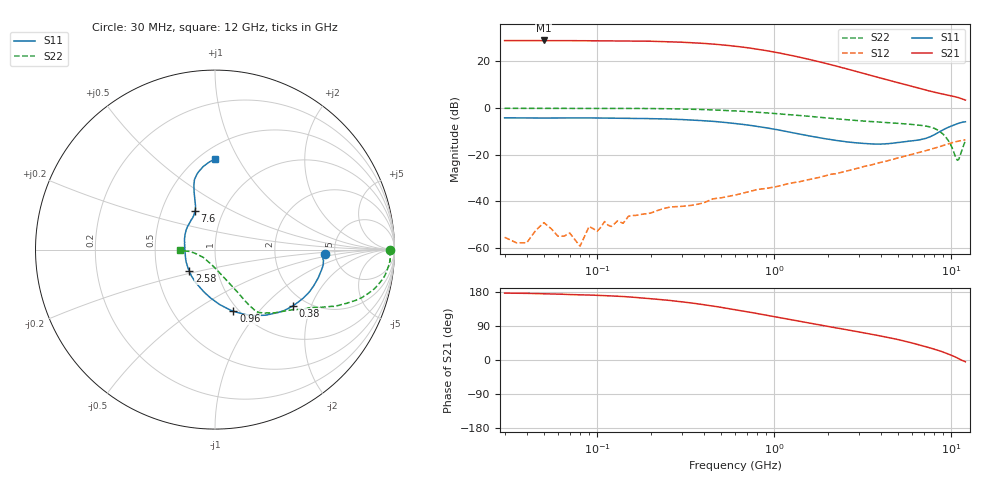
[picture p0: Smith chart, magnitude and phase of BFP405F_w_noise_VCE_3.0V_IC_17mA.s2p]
! Infineon Technologies  Discrete & RF Semiconductors
! BFP405F
! VCE =  3.0 V,  IC =  17 mA
! Common Emitter S-Parameters:  Nov 2015
# GHz  S  MA  R  50
!  f  S11  S21  S12  S22
! GHz  MAG  ANG  MAG  ANG  MAG  ANG  MAG  ANG
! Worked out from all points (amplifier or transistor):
!   239 points, 30 MHz to 12 GHz, reference 50 ohm
!   highest |S21| = 28.8 dB at 50 MHz (marker M1)
!   |S21| within 3 dB of that: start of sweep to 689.2 MHz
!   unconditionally stable (mu >= 1): 1.823 GHz to end of sweep
!   at 300 MHz: K = 0.18, MSG = 35.1 dB, |S12| = -42.2 dB
!   at 1.88 GHz: K = 1.01, MAG = 23.7 dB, |S12| = -29.4 dB
!   at 12 GHz: K = 1.37, MAG = 4.9 dB, |S12| = -13.7 dB
!   lowest NFmin = 2.08 dB at 450 MHz
!   S11 on the Smith chart (normalised r, x): 30 MHz: 4.11, -0.32; 380 MHz: 1.71, -1.50; 960 MHz: 0.94, -0.74; 2.58 GHz: 0.73, -0.18; 7.6 GHz: 0.74, +0.33; 12 GHz: 0.60, +0.80
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0.03  0.6109 -2.3  27.33 176.5  0.0017 55.4  0.9743 -0.2
0.04  0.6055 -3.5  27.36 175.9  0.0013 122.5  0.974 -0.7
0.05  0.6033 -5.0  27.52 174.7  0.0035 129.8  0.9758 -0.9
0.08  0.6088 -7.6  27.09 172.0  0.0011 47.2  0.9776 -2.2
0.085  0.6082 -8.2  27.14 171.7  0.0018 84.6  0.9772 -2.6
0.145  0.5978 -14.4  26.87 167.1  0.004 89.7  0.973 -5.1
0.2  0.5865 -19.8  26.49 161.7  0.0056 82.3  0.9639 -7.3
0.24  0.5777 -23.5  25.93 158.5  0.0071 84.7  0.9571 -8.7
0.3  0.561 -28.8  25.24 153.5  0.0078 89.4  0.9422 -10.7
0.38  0.5349 -35.7  24.08 147.4  0.0089 76.8  0.9211 -13.1
0.5  0.4964 -44.9  22.26 139.0  0.0119 75.2  0.8852 -16.2
0.6  0.4618 -52.3  20.74 132.8  0.0136 73.4  0.858 -18.3
0.7  0.431 -58.5  19.34 127.5  0.0157 73.3  0.8302 -20.0
0.96  0.3584 -73.3  16 115.8  0.0197 71.8  0.7651 -23.7
1.3  0.2875 -89.9  12.75 104.3  0.0253 70.0  0.6989 -27.1
1.64  0.2435 -104.6  10.45 96.0  0.0301 71.1  0.6484 -29.8
2.06  0.2106 -121.9  8.465 87.7  0.0373 70.0  0.5991 -33.4
2.58  0.1863 -140.5  6.757 79.6  0.0448 69.0  0.5545 -37.2
4.5  0.1732 169.4  3.82 58.5  0.0762 63.2  0.48 -47.3
7.6  0.2412 117.4  2.264 31.8  0.1287 50.4  0.3891 -57.3
10.8  0.4553 99.9  1.673 5.3  0.1918 31.8  0.0761 -123.9
12  0.5026 90.0  1.462 -4.6  0.2064 24.8  0.1952 -179.0
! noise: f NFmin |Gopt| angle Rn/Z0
0.45  2.08  0.07  0  0.34
0.9  2.1  0.06  2  0.36
1.5  2.15  0.05  1  0.23
1.9  2.21  0.03  -15  0.22
2.4  2.35  0.02  -69  0.34
3  2.44  0.03  -103  0.11
3.5  2.5  0.05  -109  0.28
4.5  2.72  0.11  -100  0.41
5.5  3  0.19  -88  0.37
